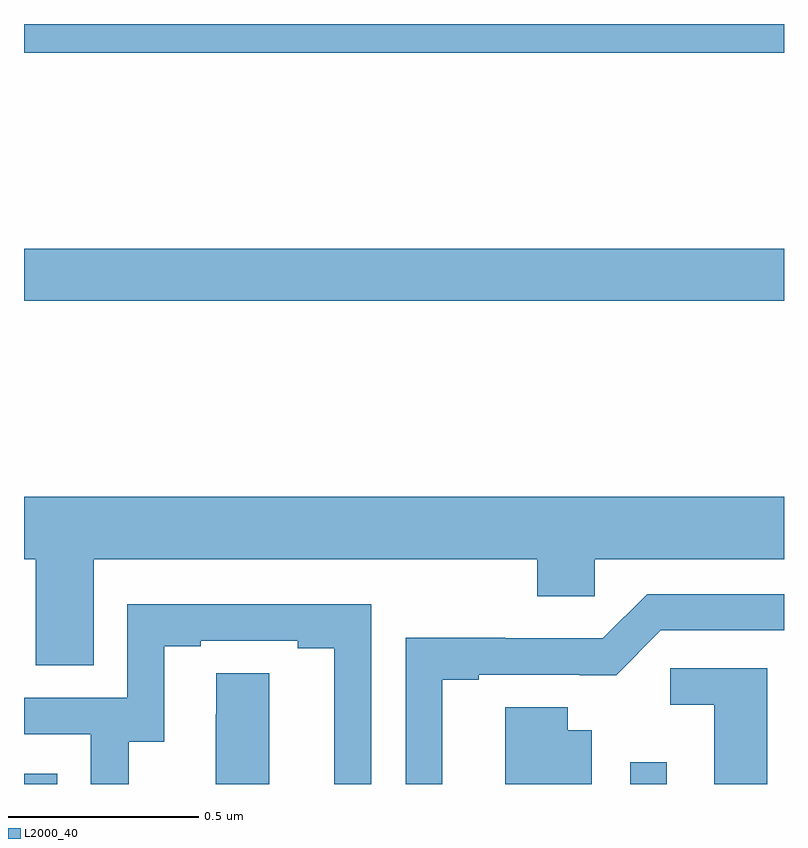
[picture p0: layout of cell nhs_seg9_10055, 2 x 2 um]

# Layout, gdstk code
import gdstk
lib = gdstk.Library(unit=1e-6, precision=1e-09)
def R(c, l, rs):  # rectangles x0, y0, x1, y1
    for r in rs: c.add(gdstk.rectangle(r[:2], r[2:], *l))
def P(c, l, *ps):  # polygons
    for p in ps: c.add(gdstk.Polygon(p, *l))
L2000_40 = (2000, 40)

nhs_seg9_10055 = lib.new_cell('nhs_seg9_10055')
R(nhs_seg9_10055, L2000_40, [(238,1190.5,238.087,1190.527), (239.595,1190.5,239.691,1190.557), (238,1191.772,240,1191.908), (238,1192.424,240,1192.5)])
P(nhs_seg9_10055, L2000_40, [(238.183,1191.092),(239.351,1191.092),(239.351,1190.994),(239.502,1190.994),(239.502,1191.092),(240,1191.092),(240,1191.256),(238,1191.256),(238,1191.092),(238.031,1191.092),(238.031,1190.812),(238.183,1190.812)],
  [(239.101,1190.775),(239.197,1190.775),(239.197,1190.787),(239.462,1190.787),(239.462,1190.786),(239.558,1190.786),(239.676,1190.904),(240,1190.904),(240,1191),(239.64,1191),(239.523,1190.883),(239.267,1190.883),(239.267,1190.885),(239.004,1190.885),(239.004,1190.5),(239.101,1190.5)],
  [(238.275,1190.611),(238.369,1190.611),(238.369,1190.862),(238.465,1190.862),(238.465,1190.877),(238.721,1190.877),(238.721,1190.857),(238.817,1190.857),(238.817,1190.5),(238.914,1190.5),(238.914,1190.973),(238.272,1190.973),(238.272,1190.727),(238,1190.727),(238,1190.631),(238.176,1190.631),(238.176,1190.5),(238.275,1190.5)],
  [(239.956,1190.805),(239.7,1190.805),(239.7,1190.708),(239.816,1190.708),(239.816,1190.5),(239.956,1190.5)],
  [(238.645,1190.792),(238.506,1190.792),(238.506,1190.684),(238.505,1190.684),(238.505,1190.5),(238.645,1190.5)],
  [(239.494,1190.641),(239.431,1190.641),(239.431,1190.702),(239.267,1190.702),(239.267,1190.5),(239.494,1190.5)])

lib.write_gds('nhs_seg9_10055.gds')
